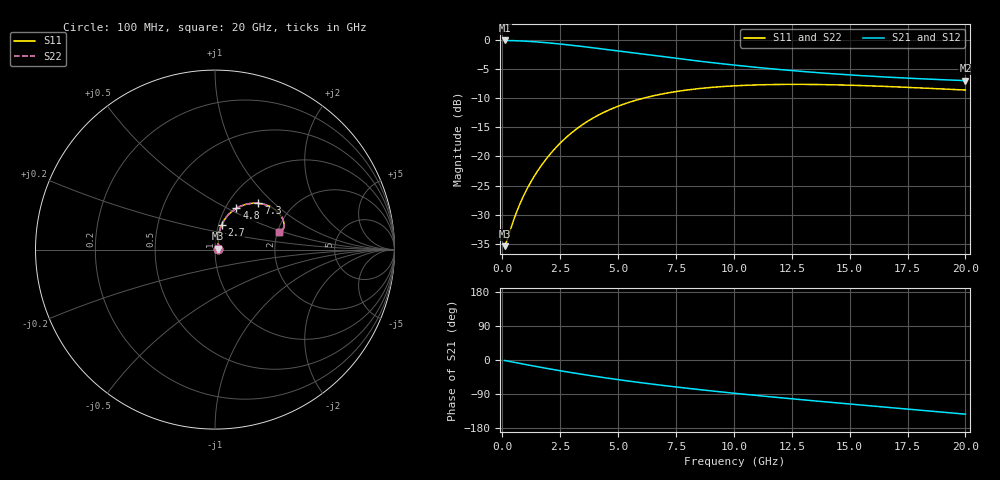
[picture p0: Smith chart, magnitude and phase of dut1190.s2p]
! Touchstone file exported from HFSS 2024.1.0
!  File:  C:/UserFiles/LocalFiles/RDL_TSV_Batchsim/temp_RDL_TSV_1190_1780127885.aedt
!  Generated:  04:14:57 PM May 30, 2026
!  Design:  RDL_TSV
!  Project:  temp_RDL_TSV_1190_1780127885
!  Setup:  Setup1
!  Solution:  Sweep
! Variables:
!  dtsv = 6.01um
!  hbump = 3um
!  htsv = 75.64um
!  ldown = 143.35um
!  lrdl = 352.46um
!  p = 40
!  p1 = 44.79um
!  rhole = 10um
!  subl = 1839.89um
!  t = 450um
!  tdown = 4.83um
!  trdl = 3.18um
!  viad = 10um
!  wdown = 12.51um
!  wrdl = 12.58um
!  xbump = 18um
# GHz S MA R 50.000000
! Terminal data exported
! Port[1] = TM1_1_T1
! Port[2] = TM1_4_T1
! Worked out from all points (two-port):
!   200 points, 100 MHz to 20 GHz, reference 50 ohm
!   highest |S21| = -0.15 dB at 100 MHz (marker M1); lowest = -7.0 dB at 20 GHz (marker M2)
!   |S21| within 3 dB of the highest: start of sweep to 7.359 GHz
!   lowest |S11| = -35.4 dB at 100 MHz (marker M3), VSWR 1.03, Z = 51.7 + j0.492 ohm
!   |S11| at or under -10 dB: start of sweep to 6.128 GHz
!   |S22| runs from -35.4 to -7.7 dB; largest |S21 - S12| = 1.2e-14
!   S11 on the Smith chart (normalised r, x): 100 MHz: 1.03, +0.01; 2.7 GHz: 1.03, +0.29; 4.8 GHz: 1.13, +0.56; 7.3 GHz: 1.37, +0.80; 20 GHz: 2.04, +0.45
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0.1  0.017 16.3  0.9834 -1.2  0.9834 -1.2  0.017 16.3
! Gamma 0 0 0 0
! Port Impedance 50 0 50 0
0.2  0.01902 29.8  0.9828 -2.4  0.9828 -2.4  0.01902 29.8
0.5  0.0288 53.4  0.9794 -6.0  0.9794 -6.0  0.02879 53.4
0.7  0.03661 61.4  0.976 -8.4  0.976 -8.4  0.03659 61.4
0.9  0.04505 66.8  0.9719 -10.7  0.9719 -10.7  0.04502 66.8
1.2  0.05879 71.8  0.9644 -14.2  0.9644 -14.2  0.05877 71.8
1.5  0.07373 74.6  0.9553 -17.5  0.9553 -17.5  0.07372 74.7
1.9  0.09521 76.2  0.9411 -22.0  0.9411 -22.0  0.09522 76.3
2.3  0.118 76.1  0.9251 -26.3  0.9251 -26.3  0.1181 76.2
2.7  0.1416 75.1  0.9078 -30.4  0.9078 -30.4  0.1417 75.1
3.5  0.1889 71.1  0.8708 -38.3  0.8708 -38.3  0.1891 71.1
4.1  0.2228 67.3  0.8421 -43.9  0.8421 -43.9  0.223 67.3
4.8  0.2591 62.5  0.8087 -50.1  0.8087 -50.1  0.2594 62.6
5.7  0.2996 56.5  0.7669 -57.6  0.7669 -57.6  0.3 56.6
6.8  0.3391 49.6  0.7189 -66.1  0.7189 -66.1  0.3396 49.7
7.3  0.3536 46.7  0.6985 -69.8  0.6985 -69.8  0.3541 46.8
8.7  0.3842 39.4  0.6466 -79.4  0.6466 -79.4  0.3848 39.5
10.1  0.4026 33.3  0.6024 -88.3  0.6024 -88.3  0.4033 33.4
11.7  0.4122 27.5  0.5606 -97.8  0.5606 -97.8  0.413 27.6
13.4  0.4128 22.7  0.5251 -107.4  0.5251 -107.4  0.4136 22.8
16.7  0.396 16.7  0.4762 -125.3  0.4762 -125.3  0.3969 16.7
20  0.3698 15.1  0.4455 -143.0  0.4455 -143.0  0.3707 15.1
